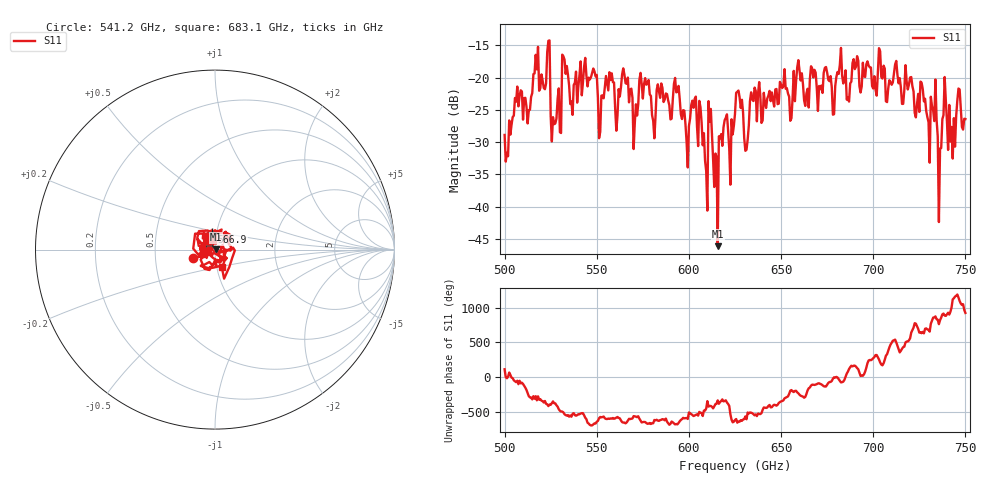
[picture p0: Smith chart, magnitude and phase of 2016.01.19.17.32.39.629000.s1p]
!Created with skrf (http://scikit-rf.org).
# GHz S RI R 50.0
!freq ReS11 ImS11
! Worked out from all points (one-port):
!   401 points, 500 GHz to 750 GHz, reference 50 ohm
!   lowest |S11| = -46.1 dB at 615.6 GHz (marker M1), VSWR 1.01, Z = 50.4 + j0.25 ohm
!   |S11| at or under -10 dB: start of sweep to end of sweep
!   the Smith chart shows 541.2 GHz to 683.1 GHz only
!   S11 on the Smith chart (normalised r, x): 541.2 GHz: 0.78, -0.08; 566.9 GHz: 0.95, +0.19; 683.1 GHz: 1.06, -0.21
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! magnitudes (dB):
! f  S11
! 500 GHz  -28.9
! 513.8 GHz  -25.0
! 516.9 GHz  -16.5
! 523.1 GHz  -16.0
! 526.2 GHz  -26.1
! 531.2 GHz  -16.5
! 541.2 GHz  -17.5
! 562.5 GHz  -22.9
! 566.9 GHz  -20.0
! 571.2 GHz  -24.1
! 574.4 GHz  -21.0
! 580.6 GHz  -26.7
! 593.8 GHz  -22.2
! 606.9 GHz  -26.9
! 608.8 GHz  -32.9
! 611.9 GHz  -24.9
! 615.6 GHz  -46.1
! 625 GHz  -25.6
! 631.2 GHz  -31.2
! 635 GHz  -23.6
! 656.2 GHz  -23.2
! 683.1 GHz  -19.7
! 687.5 GHz  -20.9
! 718.8 GHz  -21.8
! 732.5 GHz  -25.1
! 735.6 GHz  -42.4
! 738.8 GHz  -19.9
! 750 GHz  -26.4
